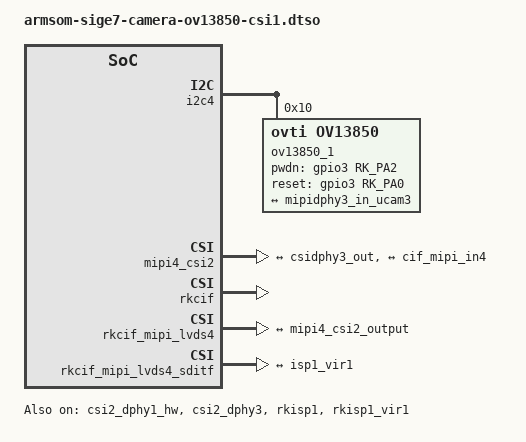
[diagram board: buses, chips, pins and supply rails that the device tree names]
/dts-v1/;
/plugin/;

#include <dt-bindings/clock/rk3588-cru.h>
#include <dt-bindings/power/rk3588-power.h>
#include <dt-bindings/gpio/gpio.h>
#include <dt-bindings/pinctrl/rockchip.h>

/ {
	
	fragment@0 {
		target = <&i2c4>;

		__overlay__ {
			status = "okay";
			#address-cells = <1>;
			#size-cells = <0>;
			pinctrl-names = "default";
			pinctrl-0 = <&i2c4m1_xfer>;
			
			ov13850_1: ov13850_1@10 {
                status = "okay";
                compatible = "ovti,ov13850";
                reg = <0x10>;
                clocks = <&cru CLK_MIPI_CAMARAOUT_M2>;
                clock-names = "xvclk";
                pinctrl-names = "default";
                pinctrl-0 = <&mipim0_camera2_clk>;
                rockchip,grf = <&sys_grf>;
                pwdn-gpios = <&gpio3 RK_PA2 GPIO_ACTIVE_HIGH>;
                reset-gpios = <&gpio3 RK_PA0 GPIO_ACTIVE_HIGH>;
                rockchip,camera-module-index = <1>;
                rockchip,camera-module-facing = "back";
                rockchip,camera-module-name = "ZC-OV13850R2A-V1";
                rockchip,camera-module-lens-name = "Largan-50064B31";
                port {
                    ov13850_out1: endpoint {
                        remote-endpoint = <&mipidphy3_in_ucam3>;
                        data-lanes = <1 2 3 4>;
                    };
                };
            };
		};
	};

	fragment@1 {
		target = <&csi2_dphy1_hw>;

		__overlay__ {
			status = "okay";
		};
	};

	fragment@2 {
		target = <&csi2_dphy3>;

		__overlay__ {
			status = "okay";

			ports {
				#address-cells = <1>;
				#size-cells = <0>;

				port@0 {
					reg = <0>;
					#address-cells = <1>;
					#size-cells = <0>;

					mipidphy3_in_ucam3: endpoint@1 {
						reg = <1>;
						remote-endpoint = <&ov13850_out1>;
						data-lanes = <1 2 3 4>;
					};

				};

				port@1 {
					reg = <1>;
					#address-cells = <1>;
					#size-cells = <0>;

					csidphy3_out: endpoint@0 {
						reg = <0>;
						remote-endpoint = <&mipi4_csi2_input>;
					};
				};
			};
		};
	};

	fragment@3 {
		target = <&mipi4_csi2>;

		__overlay__ {
			status = "okay";

			ports {
				#address-cells = <1>;
				#size-cells = <0>;

				port@0 {
					reg = <0>;
					#address-cells = <1>;
					#size-cells = <0>;

					mipi4_csi2_input: endpoint@1 {
						reg = <1>;
						remote-endpoint = <&csidphy3_out>;
					};
				};

				port@1 {
					reg = <1>;
					#address-cells = <1>;
					#size-cells = <0>;

					mipi4_csi2_output: endpoint@0 {
						reg = <0>;
						remote-endpoint = <&cif_mipi_in4>;
					};
				};
			};
	    };
	};

	fragment@4 {
		target = <&rkcif>;

		__overlay__ {
			status = "okay";
		};
	};

	fragment@5 {
		target = <&rkcif_mipi_lvds4>;

		__overlay__ {
			status = "okay";

			port {
				cif_mipi_in4: endpoint {
					remote-endpoint = <&mipi4_csi2_output>;
				};
			};
		};
	};

	fragment@6 {
		target = <&rkcif_mipi_lvds4_sditf>;

		__overlay__ {
			status = "okay";

			port {
				mipi4_lvds_sditf: endpoint {
					remote-endpoint = <&isp1_vir1>;
				};
			};

		};
	};

	fragment@7 {
		target = <&rkcif_mmu>;

		__overlay__ {
			status = "okay";
		};
	};

	fragment@8 {
		target = <&rkisp1>;

		__overlay__ {
			status = "okay";
		};
	};

	fragment@9 {
		target = <&isp1_mmu>;

		__overlay__ {
			status = "okay";
		};
	};

	fragment@10 {
		target = <&rkisp1_vir1>;

		__overlay__ {
			status = "okay";

			port {
				#address-cells = <1>;
				#size-cells = <0>;

				isp1_vir1: endpoint@0 {
					reg = <0>;
					remote-endpoint = <&mipi4_lvds_sditf>;
				};
			};
		};
	};
	
};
